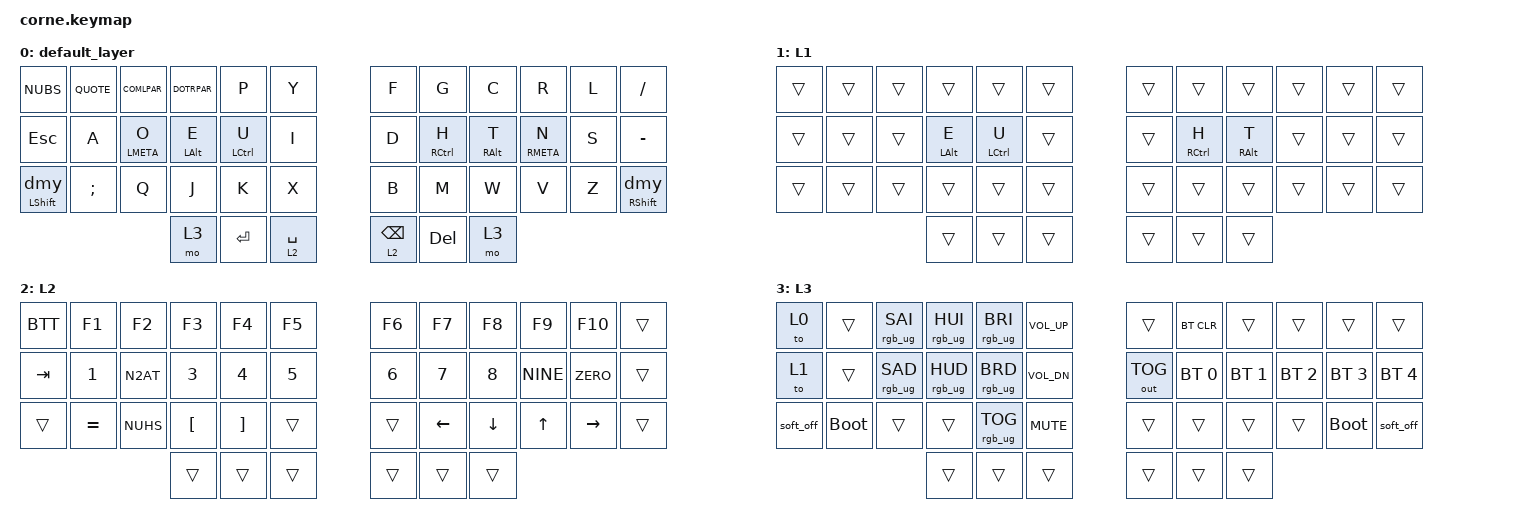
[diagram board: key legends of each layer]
/*
 * Copyright (c) 2020 The ZMK Contributors
 *
 * SPDX-License-Identifier: MIT
 */
#include <behaviors.dtsi>
#include <dt-bindings/zmk/keys.h>
#include <dt-bindings/zmk/bt.h>
#include <dt-bindings/zmk/outputs.h>
#include <dt-bindings/zmk/ext_power.h>
#include <dt-bindings/zmk/rgb.h>

#define KEYS_L 0 1 2 3 4 5 12 13 14 15 16 17 24 25 26 27 28 29 36 37 38  // Left-hand keys.
#define KEYS_R 6 7 8 9 10 11 18 19 20 21 22 23 30 31 32 33 34 35 39 40 41 // Right-hand keys.
#define THUMBS 36 37 38 39 40 41 // Thumb keys.
#define __________ &trans
#define RGBTOG &rgb_ug RGB_TOG
#define key_bri &rgb_ug RGB_BRI
#define key_brd &rgb_ug RGB_BRD
#define key_hui &rgb_ug RGB_HUI
#define key_hud &rgb_ug RGB_HUD
#define key_sai &rgb_ug RGB_SAI
#define key_sad &rgb_ug RGB_SAD
#define dmy 0
#define LSHFTWD &cw_shift LSHFT dmy
#define RSHFTWD &cw_shift RSHFT dmy

&led_strip {
    chain-length = <27>;
};

/ {
    behaviors {
        // Home row mods
        hth: hold-tap-hold-while-undecided {
            compatible = "zmk,behavior-hold-tap";
            #binding-cells = <2>;
            flavor = "balanced";
            tapping-term-ms = <200>;
            quick-tap-ms = <175>;
            require-prior-idle-ms = <150>;
            bindings = <&kp>, <&kp>;
            hold-while-undecided;
        };

        // Home row mods.
        // Without hold-while-undecided because it can cause problems with the
        // super key as it opens the app launcher in gnome.
        // Also causes problems with windows/citrix.
        ht: hold-tap {
            compatible = "zmk,behavior-hold-tap";
            #binding-cells = <2>;
            flavor = "balanced";
            tapping-term-ms = <200>;
            quick-tap-ms = <175>;
            require-prior-idle-ms = <150>;
            bindings = <&kp>, <&kp>;
        };

        cw_shift: caps_word_shift {
            compatible = "zmk,behavior-hold-tap";
            #binding-cells = <2>;
            flavor = "hold-preferred";
            tapping-term-ms = <200>;
            quick-tap-ms = <0>;
            bindings = <&kp>, <&caps_word>;
            hold-while-undecided;
        };

        // US style 2/@ key
        N2AT: number2_at {
            compatible = "zmk,behavior-mod-morph";
            #binding-cells = <0>;
            bindings = <&kp N2>, <&kp SQT>;
            mods = <(MOD_LSFT|MOD_RSFT)>;
            keep-mods = <(MOD_LSFT|MOD_RSFT)>;
        };

        // US style '/" key
        QUOTE: single_quote_double_quote {
            compatible = "zmk,behavior-mod-morph";
            #binding-cells = <0>;
            bindings = <&kp SQT>, <&kp N2>;
            mods = <(MOD_LSFT|MOD_RSFT)>;
            keep-mods = <(MOD_LSFT|MOD_RSFT)>;
        };

        // Swap <> with () ",/("
        COMLPAR: comma_left_bracket {
            compatible = "zmk,behavior-mod-morph";
            #binding-cells = <0>;
            bindings = <&kp COMMA>, <&kp LPAR>;
            mods = <(MOD_LSFT|MOD_RSFT)>;
            keep-mods = <(MOD_LSFT|MOD_RSFT)>;
        };

        // Swap <> with () "./)"
        DOTRPAR: dot_right_bracket {
            compatible = "zmk,behavior-mod-morph";
            #binding-cells = <0>;
            bindings = <&kp DOT>, <&kp RPAR>;
            mods = <(MOD_LSFT|MOD_RSFT)>;
            keep-mods = <(MOD_LSFT|MOD_RSFT)>;
        };

        // Swap <> with () "9/<"
        NINE: number9_less_than {
            compatible = "zmk,behavior-mod-morph";
            #binding-cells = <0>;
            bindings = <&kp N9>, <&kp LT>;
            mods = <(MOD_LSFT|MOD_RSFT)>;
        };

        // Swap <> with () "0/>"
        ZERO: number0_greater_than {
            compatible = "zmk,behavior-mod-morph";
            #binding-cells = <0>;
            bindings = <&kp N0>, <&kp GT>;
            mods = <(MOD_LSFT|MOD_RSFT)>;
        };

        // `/~
        BTT: backtick_tilde {
            compatible = "zmk,behavior-mod-morph";
            #binding-cells = <0>;
            bindings = <&kp GRAVE>, <&kp NUHS>;
            mods = <(MOD_LSFT|MOD_RSFT)>;
            keep-mods = <(MOD_LSFT|MOD_RSFT)>;
        };

    };
};

&soft_off {
    hold-time-ms = <0>; // Only turn off it the key is held this time ms
};

&lt {
    quick-tap-ms = <200>;
};

/ {
        keymap {
                compatible = "zmk,keymap";

                default_layer {
                        bindings = <
// ╭────────────┬────────────┬────────────┬────────────┬────────────┬────────────╮  ╭────────────┬────────────┬────────────┬────────────┬────────────┬────────────╮
     &kp NUBS     &QUOTE       &COMLPAR     &DOTRPAR     &kp P        &kp Y           &kp F        &kp G        &kp C        &kp R        &kp L        &kp FSLH
// ├────────────┼────────────┼────────────┼────────────┼────────────┼────────────┤  ├────────────┼────────────┼────────────┼────────────┼────────────┼────────────┤
     &kp ESC      &kp A        &ht LMETA O  &hth LALT E &hth LCTRL U  &kp I           &kp D       &hth RCTRL H  &hth RALT T  &ht RMETA N  &kp S        &kp MINUS
// ├────────────┼────────────┼────────────┼────────────┼────────────┼────────────┤  ├────────────┼────────────┼────────────┼────────────┼────────────┼────────────┤
     LSHFTWD      &kp SEMI     &kp Q        &kp J        &kp K        &kp X           &kp B        &kp M        &kp W        &kp V        &kp Z        RSHFTWD
// ╰────────────┴────────────┴────────────┼────────────┼────────────┼────────────┤  ├────────────┼────────────┼────────────┴────────────┴────────────┴────────────╯
                                            &mo 3        &kp RET      &lt 2 SPACE     &lt 2 BSPC   &kp DEL      &mo 3
//                                        ╰────────────┴────────────┴────────────╯  ╰────────────┴────────────┴────────────╯
                        >;
                };

                L1 {
                        bindings = <
// ╭────────────┬────────────┬────────────┬────────────┬────────────┬────────────╮  ╭────────────┬────────────┬────────────┬────────────┬────────────┬────────────╮
     __________   __________   __________   __________   __________   __________      __________   __________   __________   __________   __________   __________
// ├────────────┼────────────┼────────────┼────────────┼────────────┼────────────┤  ├────────────┼────────────┼────────────┼────────────┼────────────┼────────────┤
     __________   __________   __________   &ht LALT E   &ht LCTRL U  __________      __________   &ht RCTRL H  &ht RALT T   __________   __________   __________
// ├────────────┼────────────┼────────────┼────────────┼────────────┼────────────┤  ├────────────┼────────────┼────────────┼────────────┼────────────┼────────────┤
     __________   __________   __________   __________   __________   __________      __________   __________   __________   __________   __________   __________
// ╰────────────┴────────────┴────────────┼────────────┼────────────┼────────────┤  ├────────────┼────────────┼────────────┴────────────┴────────────┴────────────╯
                                            __________   __________   __________      __________   __________   __________
//                                        ╰────────────┴────────────┴────────────╯  ╰────────────┴────────────┴────────────╯
                        >;
                };


                L2 {
                        bindings = <
// ╭────────────┬────────────┬────────────┬────────────┬────────────┬────────────╮  ╭────────────┬────────────┬────────────┬────────────┬────────────┬────────────╮
     &BTT         &kp F1       &kp F2       &kp F3       &kp F4       &kp F5          &kp F6       &kp F7       &kp F8       &kp F9       &kp F10      __________
// ├────────────┼────────────┼────────────┼────────────┼────────────┼────────────┤  ├────────────┼────────────┼────────────┼────────────┼────────────┼────────────┤
     &kp TAB      &kp N1       &N2AT        &kp N3       &kp N4       &kp N5          &kp N6       &kp N7       &kp N8       &NINE        &ZERO        __________
// ├────────────┼────────────┼────────────┼────────────┼────────────┼────────────┤  ├────────────┼────────────┼────────────┼────────────┼────────────┼────────────┤
     __________   &kp EQUAL    &kp NUHS     &kp LBKT     &kp RBKT     __________      __________   &kp LEFT     &kp DOWN     &kp UP       &kp RIGHT    __________
// ╰────────────┴────────────┴────────────┼────────────┼────────────┼────────────┤  ├────────────┼────────────┼────────────┴────────────┴────────────┴────────────╯
                                            __________   __________   __________      __________   __________   __________
//                                        ╰────────────┴────────────┴────────────╯  ╰────────────┴────────────┴────────────╯
                        >;
                };

                L3 {
                        bindings = <

// ╭────────────┬────────────┬────────────┬────────────┬────────────┬────────────╮  ╭────────────┬────────────┬────────────┬────────────┬────────────┬────────────╮
     &to 0        __________   key_sai      key_hui      key_bri     &kp C_VOL_UP     __________   &bt BT_CLR   __________   __________   __________   __________
// ├────────────┼────────────┼────────────┼────────────┼────────────┼────────────┤  ├────────────┼────────────┼────────────┼────────────┼────────────┼────────────┤
     &to 1        __________   key_sad      key_hud      key_brd     &kp C_VOL_DN    &out OUT_TOG &bt BT_SEL 0 &bt BT_SEL 1 &bt BT_SEL 2 &bt BT_SEL 3 &bt BT_SEL 4
// ├────────────┼────────────┼────────────┼────────────┼────────────┼────────────┤  ├────────────┼────────────┼────────────┼────────────┼────────────┼────────────┤
     &soft_off    &bootloader  __________   __________   RGBTOG       &kp C_MUTE      __________   __________   __________   __________   &bootloader  &soft_off
// ╰────────────┴────────────┴────────────┼────────────┼────────────┼────────────┤  ├────────────┼────────────┼────────────┴────────────┴────────────┴────────────╯
                                            __________   __________   __________      __________   __________   __________
//                                        ╰────────────┴────────────┴────────────╯  ╰────────────┴────────────┴────────────╯
                        >;
                };
        };
};
